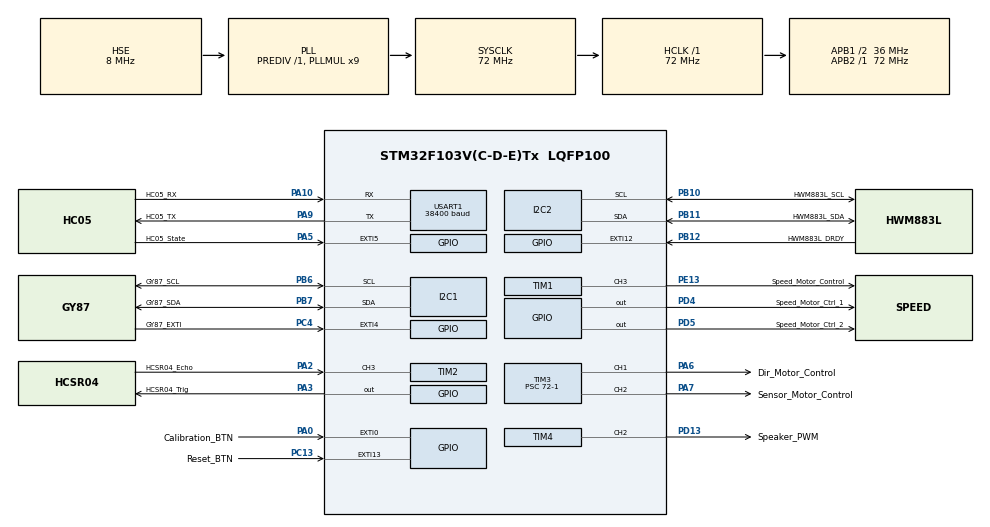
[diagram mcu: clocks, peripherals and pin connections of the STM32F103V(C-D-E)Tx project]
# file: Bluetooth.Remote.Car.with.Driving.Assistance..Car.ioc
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Mcu.Family=STM32F1
Mcu.Name=STM32F103V(C-D-E)Tx
Mcu.Package=LQFP100
NVIC.EXTI0_IRQn=true\:0\:0\:false\:false\:true\:true\:true\:true
NVIC.EXTI15_10_IRQn=true\:0\:0\:false\:false\:true\:true\:true\:true
NVIC.EXTI4_IRQn=true\:0\:0\:false\:false\:true\:true\:true\:true
NVIC.EXTI9_5_IRQn=true\:0\:0\:false\:false\:true\:true\:true\:true
NVIC.PriorityGroup=NVIC_PRIORITYGROUP_4
NVIC.TIM2_IRQn=true\:0\:0\:false\:false\:true\:true\:true\:true
NVIC.TIM3_IRQn=true\:0\:0\:false\:false\:true\:true\:true\:true
NVIC.USART1_IRQn=true\:0\:0\:false\:false\:true\:true\:true\:true
OSC_IN.Mode=HSE-External-Oscillator
OSC_IN.Signal=RCC_OSC_IN
OSC_OUT.Mode=HSE-External-Oscillator
OSC_OUT.Signal=RCC_OSC_OUT
PA0-WKUP.GPIO_Label=Calibration_BTN
PA0-WKUP.Signal=GPXTI0
PA10.GPIO_Label=HC05_RX
PA10.Mode=Asynchronous
PA10.Signal=USART1_RX
PA13.Mode=Serial_Wire
PA13.Signal=SYS_JTMS-SWDIO
PA14.Mode=Serial_Wire
PA14.Signal=SYS_JTCK-SWCLK
PA2.GPIO_Label=HCSR04_Echo
PA2.Signal=S_TIM2_CH3
PA3.GPIO_Label=HCSR04_Trig
PA3.Signal=GPIO_Output
PA5.GPIO_Label=HC05_State
PA5.GPIO_ModeDefaultEXTI=GPIO_MODE_IT_RISING_FALLING
PA5.Signal=GPXTI5
PA6.GPIO_Label=Dir_Motor_Control
PA6.Signal=S_TIM3_CH1
PA7.GPIO_Label=Sensor_Motor_Control
PA7.Signal=S_TIM3_CH2
PA9.GPIO_Label=HC05_TX
PA9.Mode=Asynchronous
PA9.Signal=USART1_TX
PB10.GPIO_Label=HWM883L_SCL
PB10.Mode=I2C
PB10.Signal=I2C2_SCL
PB11.GPIO_Label=HWM883L_SDA
PB11.Mode=I2C
PB11.Signal=I2C2_SDA
PB12.GPIO_Label=HWM883L_DRDY
PB12.Signal=GPXTI12
PB6.GPIO_Label=GY87_SCL
PB6.Mode=I2C
PB6.Signal=I2C1_SCL
PB7.GPIO_Label=GY87_SDA
PB7.Mode=I2C
PB7.Signal=I2C1_SDA
PC13-TAMPER-RTC.GPIO_Label=Reset_BTN
PC13-TAMPER-RTC.Signal=GPXTI13
PC4.GPIO_Label=GY87_EXTI
PC4.Signal=GPXTI4
PD13.GPIO_Label=Speaker_PWM
PD13.Signal=S_TIM4_CH2
PD4.GPIO_Label=Speed_Motor_Ctrl_1
PD4.PinState=GPIO_PIN_RESET
PD4.Signal=GPIO_Output
PD5.GPIO_Label=Speed_Motor_Ctrl_2
PD5.PinState=GPIO_PIN_RESET
PD5.Signal=GPIO_Output
PE13.GPIO_Label=Speed_Motor_Control
PE13.Signal=S_TIM1_CH3
ProjectManager.HeapSize=0x200
ProjectManager.StackSize=0x400
ProjectManager.TargetToolchain=STM32CubeIDE
RCC.AHBFreq_Value=72000000
RCC.APB1CLKDivider=RCC_HCLK_DIV2
RCC.APB1Freq_Value=36000000
RCC.APB1TimFreq_Value=72000000
RCC.APB2Freq_Value=72000000
RCC.APB2TimFreq_Value=72000000
RCC.HCLKFreq_Value=72000000
RCC.PLLMUL=RCC_PLL_MUL9
RCC.PLLSourceVirtual=RCC_PLLSOURCE_HSE
RCC.SYSCLKFreq_VALUE=72000000
RCC.SYSCLKSource=RCC_SYSCLKSOURCE_PLLCLK
RCC.USBFreq_Value=72000000
SH.S_TIM1_CH3.0=TIM1_CH3,PWM Generation3 CH3
SH.S_TIM2_CH3.0=TIM2_CH3,Input_Capture3_from_TI3
SH.S_TIM3_CH1.0=TIM3_CH1,PWM Generation1 CH1
SH.S_TIM3_CH2.0=TIM3_CH2,PWM Generation2 CH2
SH.S_TIM4_CH2.0=TIM4_CH2,PWM Generation2 CH2
TIM1.Channel-PWM\ Generation3\ CH3=TIM_CHANNEL_3
TIM1.Period=100-1
TIM1.Prescaler=72-1
TIM2.Channel-Input_Capture3_from_TI3=TIM_CHANNEL_3
TIM2.Prescaler=71
TIM3.Channel-PWM\ Generation1\ CH1=TIM_CHANNEL_1
TIM3.Channel-PWM\ Generation2\ CH2=TIM_CHANNEL_2
TIM3.Period=20000-1
TIM3.Prescaler=72-1
TIM3.Pulse-PWM\ Generation1\ CH1=1500
TIM4.AutoReloadPreload=TIM_AUTORELOAD_PRELOAD_ENABLE
TIM4.Channel-PWM\ Generation2\ CH2=TIM_CHANNEL_2
TIM4.Period=1000-1
TIM4.Prescaler=72-1
USART1.BaudRate=38400
USART1.VirtualMode=VM_ASYNC
VP_TIM1_VS_ClockSourceINT.Mode=Internal
VP_TIM2_VS_ClockSourceINT.Mode=Internal
VP_TIM3_VS_ClockSourceINT.Mode=Internal
VP_TIM4_VS_ClockSourceINT.Mode=Internal
board=custom

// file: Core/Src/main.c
/* USER CODE BEGIN Header */
/**
  ******************************************************************************
  * @file           : main.c
  * @brief          : Main program body
  ******************************************************************************
  * @attention
  *
  * Copyright (c) 2025 STMicroelectronics.
  * All rights reserved.
  *
  * This software is licensed under terms that can be found in the LICENSE file
  * in the root directory of this software component.
  * If no LICENSE file comes with this software, it is provided AS-IS.
  *
  ******************************************************************************
  */
/* USER CODE END Header */
#include "main.h"

/* USER CODE BEGIN Includes */
#include "string.h"
#include "stdint.h"
#include "math.h"

#include "car_vector.h"
#include "car_move.h"
#include "car_setting.h"
#include "car_speaker.h"
#include "car_scanner.h"
#include "car_motion_sensors.h"
#include "car_map.h"

/* USER CODE END Includes */

I2C_HandleTypeDef hi2c1;
I2C_HandleTypeDef hi2c2;

TIM_HandleTypeDef htim1;
TIM_HandleTypeDef htim2;
TIM_HandleTypeDef htim3;
TIM_HandleTypeDef htim4;

UART_HandleTypeDef huart1;

/* USER CODE BEGIN PV */
static volatile CalibrationState calibrationState = CALIBRATION_IDLE;
static volatile uint32_t lastSuccessScanTime = 0;
static volatile uint8_t isFinishedInit = 0;
/* USER CODE END PV */

void SystemClock_Config(void);
static void MX_GPIO_Init(void);
static void MX_USART1_UART_Init(void);
static void MX_TIM3_Init(void);
static void MX_TIM1_Init(void);
static void MX_TIM4_Init(void);
static void MX_I2C1_Init(void);
static void MX_I2C2_Init(void);
static void MX_TIM2_Init(void);

/* USER CODE BEGIN 0 */
#define RX_BUFFER_SIZE 10
uint8_t rxBuffer[RX_BUFFER_SIZE];
static volatile uint8_t isConnectedToRemote = 0;
static volatile uint8_t scannerAngleMeasured = 0;

inline static void handle_hc05_state_changed() {
  isConnectedToRemote = HAL_GPIO_ReadPin(HC05_State_GPIO_Port, HC05_State_Pin) == GPIO_PIN_SET;
  playMelody(isConnectedToRemote ? MELODY_CONNECT_OK : MELODY_CONNECT_FAIL);
}

inline static void handle_car_no_motion() {
  carVelocity = (Vec3f){0, 0, 0};
}

inline static void handle_calabration_request() {
  if (calibrationState != CALIBRATION_IDLE) return;
  calibrationState = CALIBRATION_REQUESTED;
}

inline static void handle_scanner_angle_ready() {
	return;
  if (hmc5883lReadHeading() != HAL_OK) return;
  scannerAngleMeasured = 1;
}

void HAL_GPIO_EXTI_Callback(uint16_t GPIO_Pin) {
  if (0 == isFinishedInit) return; // Ignore if not finished init
  if (CALIBRATION_IDLE != calibrationState) return; // Ignore if calibration is in progress
  if (HC05_State_Pin == GPIO_Pin) handle_hc05_state_changed();
  else if (GY87_EXTI_Pin == GPIO_Pin) handle_car_no_motion();
  else if (Calibration_BTN_Pin == GPIO_Pin) handle_calabration_request();
}

void send_all_settings_values() {
	uint8_t packet[TOTAL_SETTINGS_COUNT * 2];

	for (uint8_t i = 0; i < TOTAL_SETTINGS_COUNT; ++i) {
	  packet[i * 2]     = (0b10 << 6) | (i & 0x0F);
	  packet[i * 2 + 1] = (uint8_t)((int8_t)settings_values[i]);
	}

	HAL_UART_Transmit(&huart1, packet, sizeof(packet), 200);
}

void send_update_setting_value(uint8_t setting_id) {
	uint8_t packet[2];
	packet[0] = (0b11 << 6) | (setting_id & 0x0F);
	packet[1] = (uint8_t)settings_values[setting_id];

	HAL_UART_Transmit(&huart1, packet, 2, 200);
}

void handle_setting_change(uint8_t setting_id, int8_t delta) {
  if (setting_id >= TOTAL_SETTINGS_COUNT || delta == 0) return;

  int8_t new_value = settings_values[setting_id] + delta * settings[setting_id].step;

  if (new_value >= settings[setting_id].min && new_value <= settings[setting_id].max) {
    settings_values[setting_id] = new_value;
    send_update_setting_value(setting_id);
  }
}

void process_command(uint8_t cmd) {
  // 檢查第 1 個 bit：0 = 移動控制
  if ((cmd & 0x80) == 0x00) {
    // 取出 6-bit 有符號數值
    int8_t ctl_val = cmd & 0x3F; // 取後6位
    if (ctl_val & 0x20) ctl_val |= 0xC0;   // 符號擴展

    // 再用第 2 個 bit 分類：0 = 前後，1 = 左右
    if ((cmd & 0x40) == 0x00) {
      setSpeed(ctl_val);
    } else {
      setSteering(ctl_val);
    }
  }

  // 檢查頭三個 bit 是否為 100 = 設定修改
  else if ((cmd & 0xE0) == 0x80) {
    uint8_t setting_idx = cmd & 0x0F;              // 低 4-bit 為設定編號
    int8_t delta = (cmd & 0x10) ? -1 : +1;         // 第 4-bit 為修改  1 = 減，0 = 加）
    handle_setting_change(setting_idx, delta);
  }

  // 取得所有設定：101xxxxx
  else if ((cmd & 0xE0) == 0xA0) {
    send_all_settings_values();
  }

  // 嚮喇叭：111xxxxx
  else if ((cmd & 0xE0) == 0xE0) {
    playMelody(MELODY_HORN);
  }
}

void onChunkUpdated(Vec2i8 chunk_coord, uint64_t chunkData) {
  uint8_t chunkPackage[11] = {};
  generateChunkPackage(chunk_coord, chunkData, chunkPackage);
  playMelody(MELODY_SHORT_BEEP);
  HAL_UART_Transmit(&huart1, chunkPackage, sizeof(chunkPackage), 200);
}

HAL_StatusTypeDef mayCalibrateOnce() {
  if (CALIBRATION_IDLE == calibrationState) return HAL_OK;

  // 檢查是否有校準請求，如果有播放短音
  if (CALIBRATION_REQUESTED == calibrationState) {
    playMelody(MELODY_SHORT_BEEP);
    calibrationState = CALIBRATION_STATIC;
    return HAL_BUSY;
  }

  // 如果當前狀態是靜止校準，則進行加速計和陀螺儀校準
  if (CALIBRATION_STATIC == calibrationState) {
	  HAL_Delay(10);
    const HAL_StatusTypeDef mpu_status = mpu6050CalibrateOnce();
    if (mpu_status != HAL_OK) return HAL_BUSY;

    playMelody(MELODY_SHORT_BEEP);
    calibrationState = CALIBRATION_MOVING;
    return HAL_BUSY;
  }

  // 如果當前狀態是移動校準，則進行磁力計校準
  if (CALIBRATION_MOVING == calibrationState) {
	  HAL_Delay(10);
    const HAL_StatusTypeDef qmc_status = qmc5883lCalibrateOnce();
    if (qmc_status != HAL_OK) return HAL_BUSY;

    calibrationState = CALIBRATION_DONE;
    return HAL_BUSY;
  }

  // 如果當前狀態是校準完成，則重置狀態
  if (CALIBRATION_DONE == calibrationState) {
    playMelody(MELODY_LONG_BEEP);
    calibrationState = CALIBRATION_IDLE;
    resetMotionData();
    resetMap();
    return HAL_OK;
  }

  // 應該不會到這裡....
  return HAL_ERROR;
}

HAL_StatusTypeDef calibrateAccelGyroOnly() {
  while (1) {
    HAL_StatusTypeDef status = mpu6050CalibrateOnce();
    if (status == HAL_OK) return HAL_OK;
    if (status != HAL_BUSY) return status;
    HAL_Delay(10);
  }
}

void printCarFacingAndSensorFacing() {
  char sText[100] = {};
  int car_facing_deg = getCurrentHeadingByCache();
  int sensor_facing_deg = scannerReading.heading;
  int sensor_distance = scannerReading.distance;
  snprintf(sText, sizeof(sText), "Car facing: %i deg, Scanner facing: %i deg, Distance: %i cm\r\n", car_facing_deg, sensor_facing_deg, sensor_distance);
  HAL_UART_Transmit(&huart1, sText, sizeof(sText),200);
}

/* USER CODE END 0 */

int main(void)
{

  /* MCU Configuration--------------------------------------------------------*/

  /* Reset of all peripherals, Initializes the Flash interface and the Systick. */
  HAL_Init();

  /* Configure the system clock */
  SystemClock_Config();

  /* Initialize all configured peripherals */
  MX_GPIO_Init();
  MX_USART1_UART_Init();
  MX_TIM3_Init();
  MX_TIM1_Init();
  MX_TIM4_Init();
  MX_I2C1_Init();
  MX_I2C2_Init();
  MX_TIM2_Init();

  /* Infinite loop */
  /* USER CODE BEGIN WHILE */

  initDefaultSettings();

  if (initMoveControl() == HAL_OK &&
      initScanner() == HAL_OK &&
      initMotionSensors() == HAL_OK &&
      calibrateAccelGyroOnly() == HAL_OK) {
    playMelody(MELODY_STARTUP);
    isFinishedInit = 1;
  }

  while (1)
  {
    updateSpeaker();

    if (isFinishedInit == 0) {
      continue;
    }

    //如果校準中不能進行其他操作
    if (mayCalibrateOnce() == HAL_BUSY) {
      continue;
    }

    HAL_StatusTypeDef status = mayUpdateMotionData();
    if (status == HAL_OK) {
      uint8_t motionPackage[7];
      generateMotionPackage(motionPackage);
      HAL_UART_Transmit(&huart1, motionPackage, sizeof(motionPackage), 200);
    }

    if (scannerState == SCANNER_DONE) {
      lastSuccessScanTime = HAL_GetTick();
      Vec2i16 viewerPosition = {0, 0};
      //Vec2i16 viewerPosition = {carPosition.x * 100, carPosition.y * 100};
      float heading = 360.0f - getCurrentHeadingByCache() - currentScanerAngle;
      if (heading >= 360.0f) heading -= 360.0f;
      else if (heading < 0.0f) heading += 360.0f;
      scannerReading.heading = heading;

      Vec2i16 obstaclePosition = getObstaclePosition(viewerPosition);
      setObstaclePixel(viewerPosition, obstaclePosition, settings_values[IDX_SCAN_DISTANCE]);

      //printCarFacingAndSensorFacing();

      swingScanner(settings_values[IDX_SCAN_CYCLE], settings_values[IDX_SCAN_RANGE], settings_values[IDX_SCAN_OFFSET]);
      HAL_Delay(50);
      scannerState = SCANNER_IDLE;
    }

    if (settings_values[IDX_ENABLE_SCAN] == 1) {
      if (SCANNER_IDLE == scannerState) startScan();
      if (HAL_GetTick() - lastSuccessScanTime > 1000) {
    	lastSuccessScanTime = HAL_GetTick();
        scannerState = SCANNER_IDLE;
        startScan();
      }
    } else {
      rotateScanner(settings_values[IDX_SCAN_OFFSET]);
    }

    uint8_t rxData;
    if (HAL_UART_Receive(&huart1, &rxData, 1, 20) == HAL_OK) {
      process_command(rxData);
    }

    updateMovementControl(
      (float)settings_values[IDX_MAX_MOVEMENT_SPEED] / settings[IDX_MAX_MOVEMENT_SPEED].max,
      (uint8_t)settings_values[IDX_MAX_STEERING_ANGLE],
      300
    );

    /* USER CODE END WHILE */

    }
}

void SystemClock_Config(void)
{
  RCC_OscInitTypeDef RCC_OscInitStruct = {0};
  RCC_ClkInitTypeDef RCC_ClkInitStruct = {0};

  /** Initializes the RCC Oscillators according to the specified parameters
  * in the RCC_OscInitTypeDef structure.
  */
  RCC_OscInitStruct.OscillatorType = RCC_OSCILLATORTYPE_HSE;
  RCC_OscInitStruct.HSEState = RCC_HSE_ON;
  RCC_OscInitStruct.HSEPredivValue = RCC_HSE_PREDIV_DIV1;
  RCC_OscInitStruct.HSIState = RCC_HSI_ON;
  RCC_OscInitStruct.PLL.PLLState = RCC_PLL_ON;
  RCC_OscInitStruct.PLL.PLLSource = RCC_PLLSOURCE_HSE;
  RCC_OscInitStruct.PLL.PLLMUL = RCC_PLL_MUL9;
  if (HAL_RCC_OscConfig(&RCC_OscInitStruct) != HAL_OK)
  {
    Error_Handler();
  }

  /** Initializes the CPU, AHB and APB buses clocks
  */
  RCC_ClkInitStruct.ClockType = RCC_CLOCKTYPE_HCLK|RCC_CLOCKTYPE_SYSCLK
                              |RCC_CLOCKTYPE_PCLK1|RCC_CLOCKTYPE_PCLK2;
  RCC_ClkInitStruct.SYSCLKSource = RCC_SYSCLKSOURCE_PLLCLK;
  RCC_ClkInitStruct.AHBCLKDivider = RCC_SYSCLK_DIV1;
  RCC_ClkInitStruct.APB1CLKDivider = RCC_HCLK_DIV2;
  RCC_ClkInitStruct.APB2CLKDivider = RCC_HCLK_DIV1;

  if (HAL_RCC_ClockConfig(&RCC_ClkInitStruct, FLASH_LATENCY_2) != HAL_OK)
  {
    Error_Handler();
  }
}

static void MX_I2C1_Init(void)
{

  hi2c1.Instance = I2C1;
  hi2c1.Init.ClockSpeed = 100000;
  hi2c1.Init.DutyCycle = I2C_DUTYCYCLE_2;
  hi2c1.Init.OwnAddress1 = 0;
  hi2c1.Init.AddressingMode = I2C_ADDRESSINGMODE_7BIT;
  hi2c1.Init.DualAddressMode = I2C_DUALADDRESS_DISABLE;
  hi2c1.Init.OwnAddress2 = 0;
  hi2c1.Init.GeneralCallMode = I2C_GENERALCALL_DISABLE;
  hi2c1.Init.NoStretchMode = I2C_NOSTRETCH_DISABLE;
  if (HAL_I2C_Init(&hi2c1) != HAL_OK)
  {
    Error_Handler();
  }

}

static void MX_I2C2_Init(void)
{

  hi2c2.Instance = I2C2;
  hi2c2.Init.ClockSpeed = 100000;
  hi2c2.Init.DutyCycle = I2C_DUTYCYCLE_2;
  hi2c2.Init.OwnAddress1 = 0;
  hi2c2.Init.AddressingMode = I2C_ADDRESSINGMODE_7BIT;
  hi2c2.Init.DualAddressMode = I2C_DUALADDRESS_DISABLE;
  hi2c2.Init.OwnAddress2 = 0;
  hi2c2.Init.GeneralCallMode = I2C_GENERALCALL_DISABLE;
  hi2c2.Init.NoStretchMode = I2C_NOSTRETCH_DISABLE;
  if (HAL_I2C_Init(&hi2c2) != HAL_OK)
  {
    Error_Handler();
  }

}

static void MX_TIM1_Init(void)
{

  TIM_ClockConfigTypeDef sClockSourceConfig = {0};
  TIM_MasterConfigTypeDef sMasterConfig = {0};
  TIM_OC_InitTypeDef sConfigOC = {0};
  TIM_BreakDeadTimeConfigTypeDef sBreakDeadTimeConfig = {0};

  htim1.Instance = TIM1;
  htim1.Init.Prescaler = 72-1;
  htim1.Init.CounterMode = TIM_COUNTERMODE_UP;
  htim1.Init.Period = 100-1;
  htim1.Init.ClockDivision = TIM_CLOCKDIVISION_DIV1;
  htim1.Init.RepetitionCounter = 0;
  htim1.Init.AutoReloadPreload = TIM_AUTORELOAD_PRELOAD_DISABLE;
  if (HAL_TIM_Base_Init(&htim1) != HAL_OK)
  {
    Error_Handler();
  }
  sClockSourceConfig.ClockSource = TIM_CLOCKSOURCE_INTERNAL;
  if (HAL_TIM_ConfigClockSource(&htim1, &sClockSourceConfig) != HAL_OK)
  {
    Error_Handler();
  }
  if (HAL_TIM_PWM_Init(&htim1) != HAL_OK)
  {
    Error_Handler();
  }
  sMasterConfig.MasterOutputTrigger = TIM_TRGO_RESET;
  sMasterConfig.MasterSlaveMode = TIM_MASTERSLAVEMODE_DISABLE;
  if (HAL_TIMEx_MasterConfigSynchronization(&htim1, &sMasterConfig) != HAL_OK)
  {
    Error_Handler();
  }
  sConfigOC.OCMode = TIM_OCMODE_PWM1;
  sConfigOC.Pulse = 0;
  sConfigOC.OCPolarity = TIM_OCPOLARITY_HIGH;
  sConfigOC.OCNPolarity = TIM_OCNPOLARITY_HIGH;
  sConfigOC.OCFastMode = TIM_OCFAST_DISABLE;
  sConfigOC.OCIdleState = TIM_OCIDLESTATE_RESET;
  sConfigOC.OCNIdleState = TIM_OCNIDLESTATE_RESET;
  if (HAL_TIM_PWM_ConfigChannel(&htim1, &sConfigOC, TIM_CHANNEL_3) != HAL_OK)
  {
    Error_Handler();
  }
  sBreakDeadTimeConfig.OffStateRunMode = TIM_OSSR_DISABLE;
  sBreakDeadTimeConfig.OffStateIDLEMode = TIM_OSSI_DISABLE;
  sBreakDeadTimeConfig.LockLevel = TIM_LOCKLEVEL_OFF;
  sBreakDeadTimeConfig.DeadTime = 0;
  sBreakDeadTimeConfig.BreakState = TIM_BREAK_DISABLE;
  sBreakDeadTimeConfig.BreakPolarity = TIM_BREAKPOLARITY_HIGH;
  sBreakDeadTimeConfig.AutomaticOutput = TIM_AUTOMATICOUTPUT_DISABLE;
  if (HAL_TIMEx_ConfigBreakDeadTime(&htim1, &sBreakDeadTimeConfig) != HAL_OK)
  {
    Error_Handler();
  }
  HAL_TIM_MspPostInit(&htim1);

}

static void MX_TIM2_Init(void)
{

  TIM_ClockConfigTypeDef sClockSourceConfig = {0};
  TIM_MasterConfigTypeDef sMasterConfig = {0};
  TIM_IC_InitTypeDef sConfigIC = {0};

  htim2.Instance = TIM2;
  htim2.Init.Prescaler = 71;
  htim2.Init.CounterMode = TIM_COUNTERMODE_UP;
  htim2.Init.Period = 65535;
  htim2.Init.ClockDivision = TIM_CLOCKDIVISION_DIV1;
  htim2.Init.AutoReloadPreload = TIM_AUTORELOAD_PRELOAD_DISABLE;
  if (HAL_TIM_Base_Init(&htim2) != HAL_OK)
  {
    Error_Handler();
  }
  sClockSourceConfig.ClockSource = TIM_CLOCKSOURCE_INTERNAL;
  if (HAL_TIM_ConfigClockSource(&htim2, &sClockSourceConfig) != HAL_OK)
  {
    Error_Handler();
  }
  if (HAL_TIM_IC_Init(&htim2) != HAL_OK)
  {
    Error_Handler();
  }
  sMasterConfig.MasterOutputTrigger = TIM_TRGO_RESET;
  sMasterConfig.MasterSlaveMode = TIM_MASTERSLAVEMODE_DISABLE;
  if (HAL_TIMEx_MasterConfigSynchronization(&htim2, &sMasterConfig) != HAL_OK)
  {
    Error_Handler();
  }
  sConfigIC.ICPolarity = TIM_INPUTCHANNELPOLARITY_RISING;
  sConfigIC.ICSelection = TIM_ICSELECTION_DIRECTTI;
  sConfigIC.ICPrescaler = TIM_ICPSC_DIV1;
  sConfigIC.ICFilter = 0;
  if (HAL_TIM_IC_ConfigChannel(&htim2, &sConfigIC, TIM_CHANNEL_3) != HAL_OK)
  {
    Error_Handler();
  }

}

static void MX_TIM3_Init(void)
{

  TIM_ClockConfigTypeDef sClockSourceConfig = {0};
  TIM_MasterConfigTypeDef sMasterConfig = {0};
  TIM_OC_InitTypeDef sConfigOC = {0};

  htim3.Instance = TIM3;
  htim3.Init.Prescaler = 72-1;
  htim3.Init.CounterMode = TIM_COUNTERMODE_UP;
  htim3.Init.Period = 20000-1;
  htim3.Init.ClockDivision = TIM_CLOCKDIVISION_DIV1;
  htim3.Init.AutoReloadPreload = TIM_AUTORELOAD_PRELOAD_DISABLE;
  if (HAL_TIM_Base_Init(&htim3) != HAL_OK)
  {
    Error_Handler();
  }
  sClockSourceConfig.ClockSource = TIM_CLOCKSOURCE_INTERNAL;
  if (HAL_TIM_ConfigClockSource(&htim3, &sClockSourceConfig) != HAL_OK)
  {
    Error_Handler();
  }
  if (HAL_TIM_PWM_Init(&htim3) != HAL_OK)
  {
    Error_Handler();
  }
  sMasterConfig.MasterOutputTrigger = TIM_TRGO_RESET;
  sMasterConfig.MasterSlaveMode = TIM_MASTERSLAVEMODE_DISABLE;
  if (HAL_TIMEx_MasterConfigSynchronization(&htim3, &sMasterConfig) != HAL_OK)
  {
    Error_Handler();
  }
  sConfigOC.OCMode = TIM_OCMODE_PWM1;
  sConfigOC.Pulse = 1500;
  sConfigOC.OCPolarity = TIM_OCPOLARITY_HIGH;
  sConfigOC.OCFastMode = TIM_OCFAST_DISABLE;
  if (HAL_TIM_PWM_ConfigChannel(&htim3, &sConfigOC, TIM_CHANNEL_1) != HAL_OK)
  {
    Error_Handler();
  }
  sConfigOC.Pulse = 0;
  if (HAL_TIM_PWM_ConfigChannel(&htim3, &sConfigOC, TIM_CHANNEL_2) != HAL_OK)
  {
    Error_Handler();
  }
  HAL_TIM_MspPostInit(&htim3);

}

static void MX_TIM4_Init(void)
{

  TIM_ClockConfigTypeDef sClockSourceConfig = {0};
  TIM_MasterConfigTypeDef sMasterConfig = {0};
  TIM_OC_InitTypeDef sConfigOC = {0};

  htim4.Instance = TIM4;
  htim4.Init.Prescaler = 72-1;
  htim4.Init.CounterMode = TIM_COUNTERMODE_UP;
  htim4.Init.Period = 1000-1;
  htim4.Init.ClockDivision = TIM_CLOCKDIVISION_DIV1;
  htim4.Init.AutoReloadPreload = TIM_AUTORELOAD_PRELOAD_ENABLE;
  if (HAL_TIM_Base_Init(&htim4) != HAL_OK)
  {
    Error_Handler();
  }
  sClockSourceConfig.ClockSource = TIM_CLOCKSOURCE_INTERNAL;
  if (HAL_TIM_ConfigClockSource(&htim4, &sClockSourceConfig) != HAL_OK)
  {
    Error_Handler();
  }
  if (HAL_TIM_PWM_Init(&htim4) != HAL_OK)
  {
    Error_Handler();
  }
  sMasterConfig.MasterOutputTrigger = TIM_TRGO_RESET;
  sMasterConfig.MasterSlaveMode = TIM_MASTERSLAVEMODE_DISABLE;
  if (HAL_TIMEx_MasterConfigSynchronization(&htim4, &sMasterConfig) != HAL_OK)
  {
    Error_Handler();
  }
  sConfigOC.OCMode = TIM_OCMODE_PWM1;
  sConfigOC.Pulse = 0;
  sConfigOC.OCPolarity = TIM_OCPOLARITY_HIGH;
  sConfigOC.OCFastMode = TIM_OCFAST_DISABLE;
  if (HAL_TIM_PWM_ConfigChannel(&htim4, &sConfigOC, TIM_CHANNEL_2) != HAL_OK)
  {
    Error_Handler();
  }
  HAL_TIM_MspPostInit(&htim4);

}

static void MX_USART1_UART_Init(void)
{

  huart1.Instance = USART1;
  huart1.Init.BaudRate = 38400;
  huart1.Init.WordLength = UART_WORDLENGTH_8B;
  huart1.Init.StopBits = UART_STOPBITS_1;
  huart1.Init.Parity = UART_PARITY_NONE;
  huart1.Init.Mode = UART_MODE_TX_RX;
  huart1.Init.HwFlowCtl = UART_HWCONTROL_NONE;
  huart1.Init.OverSampling = UART_OVERSAMPLING_16;
  if (HAL_UART_Init(&huart1) != HAL_OK)
  {
    Error_Handler();
  }

}

static void MX_GPIO_Init(void)
{
  GPIO_InitTypeDef GPIO_InitStruct = {0};

  /* GPIO Ports Clock Enable */
  __HAL_RCC_GPIOC_CLK_ENABLE();
  __HAL_RCC_GPIOA_CLK_ENABLE();
  __HAL_RCC_GPIOE_CLK_ENABLE();
  __HAL_RCC_GPIOB_CLK_ENABLE();
  __HAL_RCC_GPIOD_CLK_ENABLE();

  /*Configure GPIO pin Output Level */
  HAL_GPIO_WritePin(HCSR04_Trig_GPIO_Port, HCSR04_Trig_Pin, GPIO_PIN_RESET);

  /*Configure GPIO pin Output Level */
  HAL_GPIO_WritePin(GPIOD, Speed_Motor_Ctrl_1_Pin|Speed_Motor_Ctrl_2_Pin, GPIO_PIN_RESET);

  /*Configure GPIO pins : Reset_BTN_Pin GY87_EXTI_Pin */
  GPIO_InitStruct.Pin = Reset_BTN_Pin|GY87_EXTI_Pin;
  GPIO_InitStruct.Mode = GPIO_MODE_IT_RISING;
  GPIO_InitStruct.Pull = GPIO_NOPULL;
  HAL_GPIO_Init(GPIOC, &GPIO_InitStruct);

  /*Configure GPIO pin : Calibration_BTN_Pin */
  GPIO_InitStruct.Pin = Calibration_BTN_Pin;
  GPIO_InitStruct.Mode = GPIO_MODE_IT_RISING;
  GPIO_InitStruct.Pull = GPIO_NOPULL;
  HAL_GPIO_Init(Calibration_BTN_GPIO_Port, &GPIO_InitStruct);

  /*Configure GPIO pin : HCSR04_Trig_Pin */
  GPIO_InitStruct.Pin = HCSR04_Trig_Pin;
  GPIO_InitStruct.Mode = GPIO_MODE_OUTPUT_PP;
  GPIO_InitStruct.Pull = GPIO_NOPULL;
  GPIO_InitStruct.Speed = GPIO_SPEED_FREQ_LOW;
  HAL_GPIO_Init(HCSR04_Trig_GPIO_Port, &GPIO_InitStruct);

  /*Configure GPIO pin : HC05_State_Pin */
  GPIO_InitStruct.Pin = HC05_State_Pin;
  GPIO_InitStruct.Mode = GPIO_MODE_IT_RISING_FALLING;
  GPIO_InitStruct.Pull = GPIO_NOPULL;
  HAL_GPIO_Init(HC05_State_GPIO_Port, &GPIO_InitStruct);

  /*Configure GPIO pin : HWM883L_DRDY_Pin */
  GPIO_InitStruct.Pin = HWM883L_DRDY_Pin;
  GPIO_InitStruct.Mode = GPIO_MODE_IT_RISING;
  GPIO_InitStruct.Pull = GPIO_NOPULL;
  HAL_GPIO_Init(HWM883L_DRDY_GPIO_Port, &GPIO_InitStruct);

  /*Configure GPIO pins : Speed_Motor_Ctrl_1_Pin Speed_Motor_Ctrl_2_Pin */
  GPIO_InitStruct.Pin = Speed_Motor_Ctrl_1_Pin|Speed_Motor_Ctrl_2_Pin;
  GPIO_InitStruct.Mode = GPIO_MODE_OUTPUT_PP;
  GPIO_InitStruct.Pull = GPIO_NOPULL;
  GPIO_InitStruct.Speed = GPIO_SPEED_FREQ_LOW;
  HAL_GPIO_Init(GPIOD, &GPIO_InitStruct);

  /* EXTI interrupt init*/
  HAL_NVIC_SetPriority(EXTI0_IRQn, 0, 0);
  HAL_NVIC_EnableIRQ(EXTI0_IRQn);

  HAL_NVIC_SetPriority(EXTI4_IRQn, 0, 0);
  HAL_NVIC_EnableIRQ(EXTI4_IRQn);

  HAL_NVIC_SetPriority(EXTI9_5_IRQn, 0, 0);
  HAL_NVIC_EnableIRQ(EXTI9_5_IRQn);

  HAL_NVIC_SetPriority(EXTI15_10_IRQn, 0, 0);
  HAL_NVIC_EnableIRQ(EXTI15_10_IRQn);

}

void Error_Handler(void)
{
  __disable_irq();
  while (1)
  {
  }
}
